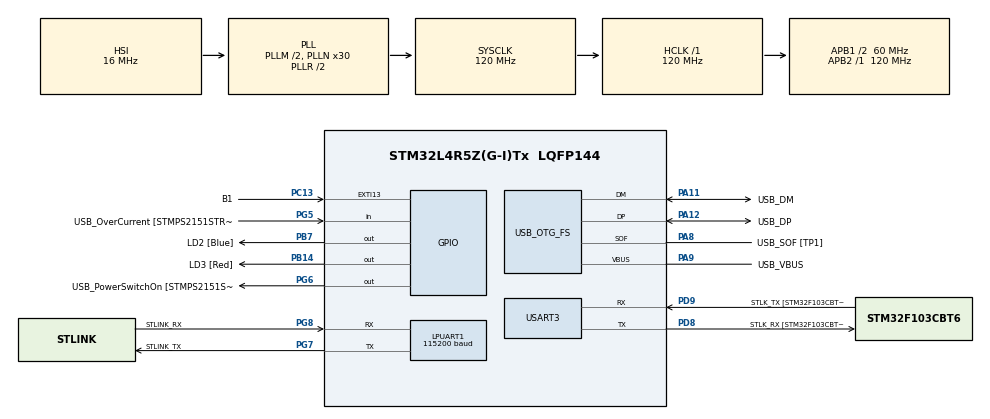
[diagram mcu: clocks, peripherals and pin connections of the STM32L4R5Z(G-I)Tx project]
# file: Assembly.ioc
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LPUART1.BaudRate=115200
LPUART1.WordLength=UART_WORDLENGTH_8B
Mcu.Family=STM32L4
Mcu.Name=STM32L4R5Z(G-I)Tx
Mcu.Package=LQFP144
NVIC.PriorityGroup=NVIC_PRIORITYGROUP_4
PA10.GPIO_Label=USB_ID
PA10.Signal=USB_OTG_FS_ID
PA11.GPIO_Label=USB_DM
PA11.Mode=Device_Only
PA11.Signal=USB_OTG_FS_DM
PA12.GPIO_Label=USB_DP
PA12.Mode=Device_Only
PA12.Signal=USB_OTG_FS_DP
PA13\ (JTMS/SWDIO).GPIO_Label=TMS
PA13\ (JTMS/SWDIO).Mode=Trace_Asynchronous_SW
PA13\ (JTMS/SWDIO).Signal=SYS_JTMS-SWDIO
PA14\ (JTCK/SWCLK).GPIO_Label=TCK
PA14\ (JTCK/SWCLK).Mode=Trace_Asynchronous_SW
PA14\ (JTCK/SWCLK).Signal=SYS_JTCK-SWCLK
PA8.GPIO_Label=USB_SOF [TP1]
PA8.Mode=Activate_SOF_FS
PA8.Signal=USB_OTG_FS_SOF
PA9.GPIO_Label=USB_VBUS
PA9.Mode=Activate_VBUS
PA9.Signal=USB_OTG_FS_VBUS
PB14.GPIO_Label=LD3 [Red]
PB14.Signal=GPIO_Output
PB3\ (JTDO/TRACESWO).GPIO_Label=SWO
PB3\ (JTDO/TRACESWO).Mode=Trace_Asynchronous_SW
PB3\ (JTDO/TRACESWO).Signal=SYS_JTDO-SWO
PB7.GPIO_Label=LD2 [Blue]
PB7.Signal=GPIO_Output
PC13.GPIO_Label=B1
PC13.Signal=GPXTI13
PC14-OSC32_IN\ (PC14).Mode=LSE-External-Oscillator
PC14-OSC32_IN\ (PC14).Signal=RCC_OSC32_IN
PC15-OSC32_OUT\ (PC15).Mode=LSE-External-Oscillator
PC15-OSC32_OUT\ (PC15).Signal=RCC_OSC32_OUT
PD8.GPIO_Label=STLK_RX [STM32F103CBT6_PA3]
PD8.Mode=Asynchronous
PD8.Signal=USART3_TX
PD9.GPIO_Label=STLK_TX [STM32F103CBT6_PA2]
PD9.Mode=Asynchronous
PD9.Signal=USART3_RX
PG5.GPIO_Label=USB_OverCurrent [STMPS2151STR_FAULT]
PG5.Signal=GPIO_Input
PG6.GPIO_Label=USB_PowerSwitchOn [STMPS2151STR_EN]
PG6.Signal=GPIO_Output
PG7.GPIO_Label=STLINK_TX
PG7.Mode=Asynchronous
PG7.Signal=LPUART1_TX
PG8.GPIO_Label=STLINK_RX
PG8.Mode=Asynchronous
PG8.Signal=LPUART1_RX
PH0-OSC_IN\ (PH0).Signal=RCC_OSC_IN
PH1-OSC_OUT\ (PH1).Signal=RCC_OSC_OUT
ProjectManager.HeapSize=0x200
ProjectManager.StackSize=0x400
ProjectManager.TargetToolchain=STM32CubeIDE
RCC.48MHZClocksFreq_Value=24000000
RCC.ADCFreq_Value=96000000
RCC.AHBFreq_Value=120000000
RCC.APB1CLKDivider=RCC_HCLK_DIV2
RCC.APB1Freq_Value=60000000
RCC.APB1TimFreq_Value=120000000
RCC.APB2Freq_Value=120000000
RCC.APB2TimFreq_Value=120000000
RCC.CK48CLockSelection=RCC_USBCLKSOURCE_HSI48
RCC.CortexFreq_Value=120000000
RCC.HCLKFreq_Value=120000000
RCC.HSE_VALUE=8000000
RCC.HSI48_VALUE=48000000
RCC.HSI_VALUE=16000000
RCC.MSI_VALUE=4000000
RCC.PLLM1=2
RCC.PLLMUL=RCC_PLL_MUL9
RCC.PLLN=30
RCC.PLLSAI1N=12
RCC.PLLSourceVirtual=RCC_PLLSOURCE_HSI
RCC.PRESCALERUSB=RCC_USBCLKSOURCE_PLL_DIV1_5
RCC.SYSCLKFreq_VALUE=120000000
RCC.SYSCLKSource=RCC_SYSCLKSOURCE_PLLCLK
RCC.SYSCLKSourceVirtual=RCC_SYSCLKSOURCE_PLLCLK
RCC.USBFreq_Value=48000000
RCC.VCOOutputFreq_Value=240000000
USART3.VirtualMode-Asynchronous=VM_ASYNC
USB_OTG_FS.VirtualMode=Device_Only
board=NUCLEO-L4R5ZI

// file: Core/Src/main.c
/* USER CODE BEGIN Header */
/**
  ******************************************************************************
  * @file           : main.c
  * @brief          : Main program body
  ******************************************************************************
  * @attention
  *
  * Copyright (c) 2023 STMicroelectronics.
  * All rights reserved.
  *
  * This software is licensed under terms that can be found in the LICENSE file
  * in the root directory of this software component.
  * If no LICENSE file comes with this software, it is provided AS-IS.
  *
  ******************************************************************************
  */
/* USER CODE END Header */
#include "main.h"

/* USER CODE BEGIN Includes */
#include <stdio.h>

/* USER CODE END Includes */

UART_HandleTypeDef hlpuart1;
UART_HandleTypeDef huart3;

PCD_HandleTypeDef hpcd_USB_OTG_FS;

void SystemClock_Config(void);
static void MX_GPIO_Init(void);
static void MX_LPUART1_UART_Init(void);
static void MX_USART3_UART_Init(void);
static void MX_USB_OTG_FS_PCD_Init(void);
/* USER CODE BEGIN PFP */
#ifdef __GNUC__
#define PUTCHAR_PROTOTYPE int __io_putchar(int ch)
#else
#define PUTCHAR_PROTOTYPE int fputc(int ch, FILE *f)
#endif

PUTCHAR_PROTOTYPE
{
  HAL_UART_Transmit(&hlpuart1, (uint8_t *)&ch, 1, HAL_MAX_DELAY);
  return ch;
}

/* USER CODE END PFP */

/* USER CODE BEGIN 0 */

extern int add(int myNumber);
extern void reverse_string(char* string, int size);
extern void pass_five_values(int a, int b, int c, int d, int e);

/* USER CODE END 0 */

int main(void)
{

  /* MCU Configuration--------------------------------------------------------*/

  /* Reset of all peripherals, Initializes the Flash interface and the Systick. */
  HAL_Init();

  /* Configure the system clock */
  SystemClock_Config();

  /* Initialize all configured peripherals */
  MX_GPIO_Init();
  MX_LPUART1_UART_Init();
  MX_USART3_UART_Init();
  MX_USB_OTG_FS_PCD_Init();
  /* USER CODE BEGIN 2 */

  // Example 1
  int number = 100;
  int res = add(number);
  printf("%d + 10 = %d\r\n", number, res);

  // Example 2
  pass_five_values(1, 2, 3, 4, 5);

  // Example 3
  char data[] = "This cool string will be reversed by assembly";
  printf("Original String: %s\r\n", data);
  reverse_string(data, sizeof(data));
  printf("String reversed: %s\r\n", data);

  /* USER CODE END 2 */

  /* Infinite loop */
  while (1)
  {

  }
}

void SystemClock_Config(void)
{
  RCC_OscInitTypeDef RCC_OscInitStruct = {0};
  RCC_ClkInitTypeDef RCC_ClkInitStruct = {0};

  /** Configure the main internal regulator output voltage
  */
  if (HAL_PWREx_ControlVoltageScaling(PWR_REGULATOR_VOLTAGE_SCALE1_BOOST) != HAL_OK)
  {
    Error_Handler();
  }

  /** Initializes the RCC Oscillators according to the specified parameters
  * in the RCC_OscInitTypeDef structure.
  */
  RCC_OscInitStruct.OscillatorType = RCC_OSCILLATORTYPE_HSI48|RCC_OSCILLATORTYPE_HSI;
  RCC_OscInitStruct.HSIState = RCC_HSI_ON;
  RCC_OscInitStruct.HSI48State = RCC_HSI48_ON;
  RCC_OscInitStruct.HSICalibrationValue = RCC_HSICALIBRATION_DEFAULT;
  RCC_OscInitStruct.PLL.PLLState = RCC_PLL_ON;
  RCC_OscInitStruct.PLL.PLLSource = RCC_PLLSOURCE_HSI;
  RCC_OscInitStruct.PLL.PLLM = 2;
  RCC_OscInitStruct.PLL.PLLN = 30;
  RCC_OscInitStruct.PLL.PLLP = RCC_PLLP_DIV2;
  RCC_OscInitStruct.PLL.PLLQ = RCC_PLLQ_DIV2;
  RCC_OscInitStruct.PLL.PLLR = RCC_PLLR_DIV2;
  if (HAL_RCC_OscConfig(&RCC_OscInitStruct) != HAL_OK)
  {
    Error_Handler();
  }

  /** Initializes the CPU, AHB and APB buses clocks
  */
  RCC_ClkInitStruct.ClockType = RCC_CLOCKTYPE_HCLK|RCC_CLOCKTYPE_SYSCLK
                              |RCC_CLOCKTYPE_PCLK1|RCC_CLOCKTYPE_PCLK2;
  RCC_ClkInitStruct.SYSCLKSource = RCC_SYSCLKSOURCE_PLLCLK;
  RCC_ClkInitStruct.AHBCLKDivider = RCC_SYSCLK_DIV1;
  RCC_ClkInitStruct.APB1CLKDivider = RCC_HCLK_DIV2;
  RCC_ClkInitStruct.APB2CLKDivider = RCC_HCLK_DIV1;

  if (HAL_RCC_ClockConfig(&RCC_ClkInitStruct, FLASH_LATENCY_5) != HAL_OK)
  {
    Error_Handler();
  }
}

static void MX_LPUART1_UART_Init(void)
{

  hlpuart1.Instance = LPUART1;
  hlpuart1.Init.BaudRate = 115200;
  hlpuart1.Init.WordLength = UART_WORDLENGTH_8B;
  hlpuart1.Init.StopBits = UART_STOPBITS_1;
  hlpuart1.Init.Parity = UART_PARITY_NONE;
  hlpuart1.Init.Mode = UART_MODE_TX_RX;
  hlpuart1.Init.HwFlowCtl = UART_HWCONTROL_NONE;
  hlpuart1.Init.OneBitSampling = UART_ONE_BIT_SAMPLE_DISABLE;
  hlpuart1.Init.ClockPrescaler = UART_PRESCALER_DIV1;
  hlpuart1.AdvancedInit.AdvFeatureInit = UART_ADVFEATURE_NO_INIT;
  hlpuart1.FifoMode = UART_FIFOMODE_DISABLE;
  if (HAL_UART_Init(&hlpuart1) != HAL_OK)
  {
    Error_Handler();
  }
  if (HAL_UARTEx_SetTxFifoThreshold(&hlpuart1, UART_TXFIFO_THRESHOLD_1_8) != HAL_OK)
  {
    Error_Handler();
  }
  if (HAL_UARTEx_SetRxFifoThreshold(&hlpuart1, UART_RXFIFO_THRESHOLD_1_8) != HAL_OK)
  {
    Error_Handler();
  }
  if (HAL_UARTEx_DisableFifoMode(&hlpuart1) != HAL_OK)
  {
    Error_Handler();
  }

}

static void MX_USART3_UART_Init(void)
{

  huart3.Instance = USART3;
  huart3.Init.BaudRate = 115200;
  huart3.Init.WordLength = UART_WORDLENGTH_8B;
  huart3.Init.StopBits = UART_STOPBITS_1;
  huart3.Init.Parity = UART_PARITY_NONE;
  huart3.Init.Mode = UART_MODE_TX_RX;
  huart3.Init.HwFlowCtl = UART_HWCONTROL_NONE;
  huart3.Init.OverSampling = UART_OVERSAMPLING_16;
  huart3.Init.OneBitSampling = UART_ONE_BIT_SAMPLE_DISABLE;
  huart3.Init.ClockPrescaler = UART_PRESCALER_DIV1;
  huart3.AdvancedInit.AdvFeatureInit = UART_ADVFEATURE_NO_INIT;
  if (HAL_UART_Init(&huart3) != HAL_OK)
  {
    Error_Handler();
  }
  if (HAL_UARTEx_SetTxFifoThreshold(&huart3, UART_TXFIFO_THRESHOLD_1_8) != HAL_OK)
  {
    Error_Handler();
  }
  if (HAL_UARTEx_SetRxFifoThreshold(&huart3, UART_RXFIFO_THRESHOLD_1_8) != HAL_OK)
  {
    Error_Handler();
  }
  if (HAL_UARTEx_DisableFifoMode(&huart3) != HAL_OK)
  {
    Error_Handler();
  }

}

static void MX_USB_OTG_FS_PCD_Init(void)
{

  hpcd_USB_OTG_FS.Instance = USB_OTG_FS;
  hpcd_USB_OTG_FS.Init.dev_endpoints = 6;
  hpcd_USB_OTG_FS.Init.phy_itface = PCD_PHY_EMBEDDED;
  hpcd_USB_OTG_FS.Init.Sof_enable = ENABLE;
  hpcd_USB_OTG_FS.Init.low_power_enable = DISABLE;
  hpcd_USB_OTG_FS.Init.lpm_enable = DISABLE;
  hpcd_USB_OTG_FS.Init.battery_charging_enable = ENABLE;
  hpcd_USB_OTG_FS.Init.use_dedicated_ep1 = DISABLE;
  hpcd_USB_OTG_FS.Init.vbus_sensing_enable = ENABLE;
  if (HAL_PCD_Init(&hpcd_USB_OTG_FS) != HAL_OK)
  {
    Error_Handler();
  }

}

static void MX_GPIO_Init(void)
{
  GPIO_InitTypeDef GPIO_InitStruct = {0};

  /* GPIO Ports Clock Enable */
  __HAL_RCC_GPIOC_CLK_ENABLE();
  __HAL_RCC_GPIOH_CLK_ENABLE();
  __HAL_RCC_GPIOB_CLK_ENABLE();
  __HAL_RCC_GPIOD_CLK_ENABLE();
  __HAL_RCC_GPIOG_CLK_ENABLE();
  HAL_PWREx_EnableVddIO2();
  __HAL_RCC_GPIOA_CLK_ENABLE();

  /*Configure GPIO pin Output Level */
  HAL_GPIO_WritePin(GPIOB, LD3_Pin|LD2_Pin, GPIO_PIN_RESET);

  /*Configure GPIO pin Output Level */
  HAL_GPIO_WritePin(USB_PowerSwitchOn_GPIO_Port, USB_PowerSwitchOn_Pin, GPIO_PIN_RESET);

  /*Configure GPIO pin : B1_Pin */
  GPIO_InitStruct.Pin = B1_Pin;
  GPIO_InitStruct.Mode = GPIO_MODE_IT_RISING;
  GPIO_InitStruct.Pull = GPIO_NOPULL;
  HAL_GPIO_Init(B1_GPIO_Port, &GPIO_InitStruct);

  /*Configure GPIO pins : LD3_Pin LD2_Pin */
  GPIO_InitStruct.Pin = LD3_Pin|LD2_Pin;
  GPIO_InitStruct.Mode = GPIO_MODE_OUTPUT_PP;
  GPIO_InitStruct.Pull = GPIO_NOPULL;
  GPIO_InitStruct.Speed = GPIO_SPEED_FREQ_LOW;
  HAL_GPIO_Init(GPIOB, &GPIO_InitStruct);

  /*Configure GPIO pin : USB_OverCurrent_Pin */
  GPIO_InitStruct.Pin = USB_OverCurrent_Pin;
  GPIO_InitStruct.Mode = GPIO_MODE_INPUT;
  GPIO_InitStruct.Pull = GPIO_NOPULL;
  HAL_GPIO_Init(USB_OverCurrent_GPIO_Port, &GPIO_InitStruct);

  /*Configure GPIO pin : USB_PowerSwitchOn_Pin */
  GPIO_InitStruct.Pin = USB_PowerSwitchOn_Pin;
  GPIO_InitStruct.Mode = GPIO_MODE_OUTPUT_PP;
  GPIO_InitStruct.Pull = GPIO_NOPULL;
  GPIO_InitStruct.Speed = GPIO_SPEED_FREQ_LOW;
  HAL_GPIO_Init(USB_PowerSwitchOn_GPIO_Port, &GPIO_InitStruct);

}

void Error_Handler(void)
{
  __disable_irq();
  while (1)
  {
  }
}
